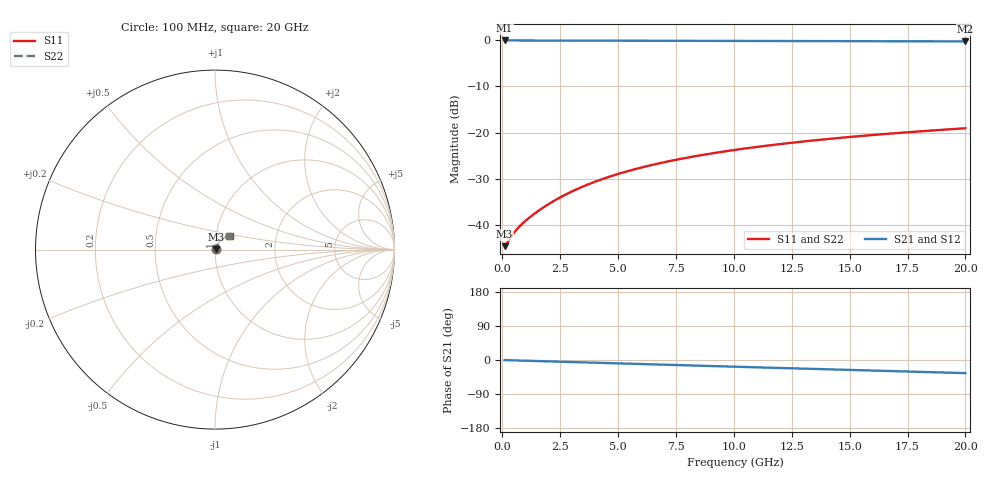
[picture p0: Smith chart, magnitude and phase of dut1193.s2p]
! Touchstone file exported from HFSS 2026.1.0
!  File:  C:/ffzhzh/LocalFiles/Ansys_Project_Files/temp_train_BSMRDL_1193_1783176340_22436.aedt
!  Generated:  10:46:47 PM Jul  4, 2026
!  Design:  BSMRDL
!  Project:  temp_train_BSMRDL_1193_1783176340_22436
! Variables:
!  h_bsmrdl = 3.54um
!  h_ox = 20um
!  h_rdl = 5um
!  h_sub = 80um
!  h_tmrdl = 5um
!  h_tsv = 80um
!  h_via = 3um
!  l_bsmrdl = 623.22um
!  l_sub = 1023.22um
!  l_tmrdl = 200um
!  m_sub = 200um
!  pitch = 15.45um
!  r_tsv = 6um
!  s_tmrdl = 10um
!  w_bsmrdl = 10.78um
!  w_sub = 500um
!  w_tmrdl = 12um
!  x_tsv_center1 = 206um
!  x_tsv_center2 = 840um
!  x_tsv_center3 = 1052um
!  x_tsv_center4 = 1686um
!  x_tsv_center5 = 1898um
!  x_tsv_center6 = 2532um
# GHz S MA R 50.000000
! Terminal data exported
! Port[1] = BSM_RDL1_1_T1
! Port[2] = BSM_RDL1_1_T2
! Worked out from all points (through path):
!   200 points, 100 MHz to 20 GHz, reference 50 ohm
!   highest |S21| = -0.05 dB at 100 MHz (marker M1); lowest = -0.3 dB at 20 GHz (marker M2)
!   group delay of S21, straight-line fit = 4.79 ps
!   lowest |S11| = -44.5 dB at 100 MHz (marker M3), VSWR 1.01, Z = 50.6 + j0.109 ohm
!   |S11| at or under -10 dB: start of sweep to end of sweep
!   |S22| runs from -44.5 to -19.0 dB; largest |S21 - S12| = 4.6e-15
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0.1  0.005938 10.4  0.9942 -0.2  0.9942 -0.2  0.005938 10.4
! Gamma 0 0 0 0
! Port Impedance 50 0 50 0
0.2  0.006378 19.1  0.994 -0.4  0.994 -0.4  0.006378 19.1
0.4  0.007616 30.3  0.9935 -0.8  0.9935 -0.8  0.007616 30.3
0.5  0.008257 33.9  0.9932 -1.0  0.9932 -1.0  0.008257 33.9
0.7  0.009469 39.1  0.9928 -1.3  0.9928 -1.3  0.009468 39.1
1  0.01116 44.7  0.9923 -1.9  0.9923 -1.9  0.01116 44.7
1.3  0.01283 49.2  0.992 -2.4  0.992 -2.4  0.01283 49.2
1.8  0.01572 54.6  0.9916 -3.3  0.9916 -3.3  0.01572 54.7
2.3  0.01875 58.3  0.9912 -4.2  0.9912 -4.2  0.01875 58.3
2.9  0.0225 60.9  0.9907 -5.2  0.9907 -5.2  0.0225 61.0
3.5  0.02632 62.5  0.9902 -6.3  0.9902 -6.3  0.02631 62.5
4.2  0.03077 63.3  0.9895 -7.6  0.9895 -7.6  0.03077 63.3
5  0.03582 63.5  0.9886 -9.0  0.9886 -9.0  0.03582 63.5
5.9  0.0414 63.1  0.9875 -10.6  0.9875 -10.6  0.0414 63.1
6.8  0.04684 62.3  0.9864 -12.1  0.9864 -12.1  0.04684 62.3
8.3  0.05557 60.6  0.9844 -14.7  0.9844 -14.7  0.05557 60.6
10.1  0.0655 58.1  0.982 -17.8  0.982 -17.8  0.0655 58.2
11.7  0.07387 55.8  0.9799 -20.6  0.9799 -20.6  0.07386 55.9
13.4  0.08233 53.4  0.9777 -23.5  0.9777 -23.5  0.08232 53.5
15  0.08994 51.0  0.9758 -26.2  0.9758 -26.2  0.08993 51.1
16.7  0.09766 48.5  0.9739 -29.1  0.9739 -29.1  0.09765 48.6
20  0.1117 43.6  0.9703 -34.6  0.9703 -34.6  0.1117 43.8
